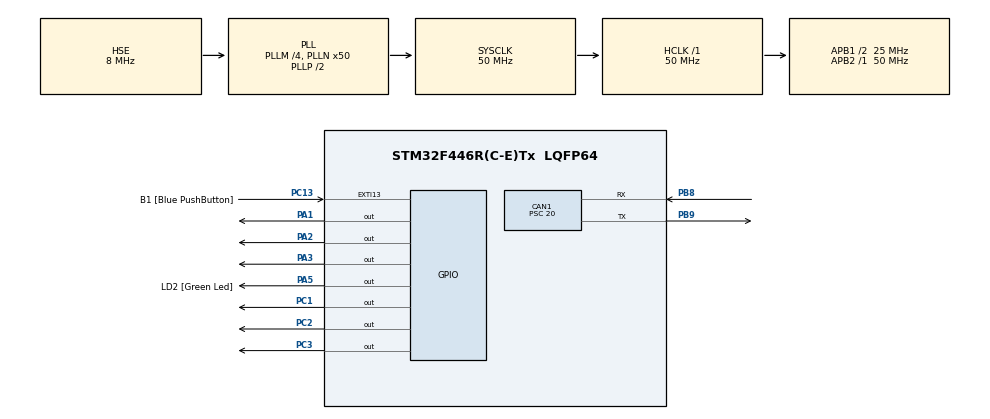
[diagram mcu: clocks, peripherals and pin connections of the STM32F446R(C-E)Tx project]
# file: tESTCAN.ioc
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CAN1.ABOM=DISABLE
CAN1.BS1=CAN_BS1_8TQ
CAN1.CalculateBaudRate=125000
CAN1.CalculateTimeBit=8000.00
CAN1.CalculateTimeQuantum=800.0
CAN1.Mode=CAN_MODE_LOOPBACK
CAN1.NART=DISABLE
CAN1.Prescaler=20
CAN1.TTCM=DISABLE
Mcu.Family=STM32F4
Mcu.Name=STM32F446R(C-E)Tx
Mcu.Package=LQFP64
NVIC.PriorityGroup=NVIC_PRIORITYGROUP_0
PA1.GPIO_ModeDefaultOutputPP=GPIO_MODE_OUTPUT_PP
PA1.GPIO_PuPd=GPIO_PULLUP
PA1.Signal=GPIO_Output
PA13.GPIO_Label=TMS
PA13.Mode=Serial_Wire
PA13.Signal=SYS_JTMS-SWDIO
PA14.GPIO_Label=TCK
PA14.Mode=Serial_Wire
PA14.Signal=SYS_JTCK-SWCLK
PA2.PinState=GPIO_PIN_SET
PA2.Signal=GPIO_Output
PA3.PinState=GPIO_PIN_SET
PA3.Signal=GPIO_Output
PA5.GPIO_Label=LD2 [Green Led]
PA5.Signal=GPIO_Output
PB3.GPIO_Label=SWO
PB3.Signal=SYS_JTDO-SWO
PB8.Mode=CAN_Activate
PB8.Signal=CAN1_RX
PB9.Mode=CAN_Activate
PB9.Signal=CAN1_TX
PC1.PinState=GPIO_PIN_SET
PC1.Signal=GPIO_Output
PC13.GPIO_Label=B1 [Blue PushButton]
PC13.GPIO_ModeDefaultEXTI=GPIO_MODE_IT_FALLING
PC13.Signal=GPXTI13
PC14-OSC32_IN.Mode=LSE-External-Oscillator
PC14-OSC32_IN.Signal=RCC_OSC32_IN
PC15-OSC32_OUT.Mode=LSE-External-Oscillator
PC15-OSC32_OUT.Signal=RCC_OSC32_OUT
PC2.PinState=GPIO_PIN_SET
PC2.Signal=GPIO_Output
PC3.PinState=GPIO_PIN_SET
PC3.Signal=GPIO_Output
PH0-OSC_IN.Mode=HSE-External-Oscillator
PH0-OSC_IN.Signal=RCC_OSC_IN
PH1-OSC_OUT.Mode=HSE-External-Oscillator
PH1-OSC_OUT.Signal=RCC_OSC_OUT
ProjectManager.HeapSize=0x200
ProjectManager.StackSize=0x400
ProjectManager.TargetToolchain=MDK-ARM V5.27
RCC.48MHZClocksFreq_Value=84000000
RCC.AHBFreq_Value=50000000
RCC.APB1CLKDivider=RCC_HCLK_DIV2
RCC.APB1Freq_Value=25000000
RCC.APB1TimFreq_Value=50000000
RCC.APB2Freq_Value=50000000
RCC.APB2TimFreq_Value=50000000
RCC.CortexFreq_Value=50000000
RCC.FLatency-AdvancedSettings=FLASH_LATENCY_1
RCC.HCLKFreq_Value=50000000
RCC.HSE_VALUE=8000000
RCC.HSI_VALUE=16000000
RCC.PLLM=4
RCC.PLLN=50
RCC.PLLSourceVirtual=RCC_PLLSOURCE_HSE
RCC.SYSCLKFreq_VALUE=50000000
RCC.SYSCLKSource=RCC_SYSCLKSOURCE_PLLCLK
RCC.USBFreq_Value=50000000
RCC.VCOOutputFreq_Value=100000000
board=NUCLEO-F446RE

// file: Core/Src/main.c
/* USER CODE BEGIN Header */
/**
  ******************************************************************************
  * @file           : main.c
  * @brief          : Main program body
  ******************************************************************************
  * @attention
  *
  * <h2><center>&copy; Copyright (c) 2021 STMicroelectronics.
  * All rights reserved.</center></h2>
  *
  * This software component is licensed by ST under BSD 3-Clause license,
  * the "License"; You may not use this file except in compliance with the
  * License. You may obtain a copy of the License at:
  *                        opensource.org/licenses/BSD-3-Clause
  *
  ******************************************************************************
  */
/* USER CODE END Header */
#include "main.h"

CAN_HandleTypeDef hcan1;

void SystemClock_Config(void);
static void MX_GPIO_Init(void);
static void MX_CAN1_Init(void);

/* USER CODE BEGIN 0 */
void CAN_TX(void)
{
	CAN_TxHeaderTypeDef Txmsg;
	uint32_t Mailbox;
	uint8_t Data[6] = {'F' , 'S' , 'U' , 'K' , '2' , '2'};
	Txmsg.StdId = 0x111;
	Txmsg.DLC = 6;
	Txmsg.IDE = CAN_ID_STD;
	Txmsg.ExtId = 0;
	Txmsg.RTR = CAN_RTR_DATA;
	Txmsg.TransmitGlobalTime = DISABLE;

	HAL_CAN_AddTxMessage(&hcan1,&Txmsg,Data,&Mailbox);

	while(HAL_CAN_IsTxMessagePending(&hcan1 , Mailbox));

}

void CAN_Filter_Config(void)
{
	CAN_FilterTypeDef can1_filter_init;

	can1_filter_init.FilterActivation = ENABLE;
	can1_filter_init.FilterBank  = 0;
	can1_filter_init.FilterFIFOAssignment = CAN_RX_FIFO0;
	can1_filter_init.FilterIdHigh = 0x0000;
	can1_filter_init.FilterIdLow = 0x0000;
	can1_filter_init.FilterMaskIdHigh = 0x0000;
	can1_filter_init.FilterMaskIdLow = 0x0000;
	can1_filter_init.FilterMode = CAN_FILTERMODE_IDMASK;
	can1_filter_init.FilterScale = CAN_FILTERSCALE_32BIT;

	if( HAL_CAN_ConfigFilter(&hcan1,&can1_filter_init) != HAL_OK)
	{

	}

}

void CAN_RX(void)
{

	CAN_RxHeaderTypeDef RxHeader;
	uint8_t rcvd_msg[5];

	char msg[50];

	//we are waiting for at least one message in to the RX FIFO0
	while(! HAL_CAN_GetRxFifoFillLevel(&hcan1,CAN_RX_FIFO0));

	if(HAL_CAN_GetRxMessage(&hcan1,CAN_RX_FIFO0,&RxHeader,rcvd_msg) != HAL_OK)
	{

	}

	sprintf(msg,"Message Received : %s\r\n",rcvd_msg);

//	HAL_UART_Transmit(&huart2,(uint8_t*)msg,strlen(msg),HAL_MAX_DELAY);

}
/* USER CODE END 0 */

int main(void)
{

  /* MCU Configuration--------------------------------------------------------*/

  /* Reset of all peripherals, Initializes the Flash interface and the Systick. */
  HAL_Init();

  /* Configure the system clock */
  SystemClock_Config();

  /* Initialize all configured peripherals */
  MX_GPIO_Init();
  MX_CAN1_Init();

  /* Infinite loop */
  /* USER CODE BEGIN WHILE */
  while (1)
  {

//		HAL_GPIO_WritePin(GPIOC,GPIO_PIN_3 , GPIO_PIN_SET);
		HAL_GPIO_WritePin(GPIOA,GPIO_PIN_1 , GPIO_PIN_SET);
//		HAL_GPIO_WritePin(GPIOC,GPIO_PIN_2 , GPIO_PIN_SET);
    /* USER CODE END WHILE */

  }
}

void SystemClock_Config(void)
{
  RCC_OscInitTypeDef RCC_OscInitStruct = {0};
  RCC_ClkInitTypeDef RCC_ClkInitStruct = {0};

  /** Configure the main internal regulator output voltage
  */
  __HAL_RCC_PWR_CLK_ENABLE();
  __HAL_PWR_VOLTAGESCALING_CONFIG(PWR_REGULATOR_VOLTAGE_SCALE3);
  /** Initializes the RCC Oscillators according to the specified parameters
  * in the RCC_OscInitTypeDef structure.
  */
  RCC_OscInitStruct.OscillatorType = RCC_OSCILLATORTYPE_HSE;
  RCC_OscInitStruct.HSEState = RCC_HSE_ON;
  RCC_OscInitStruct.PLL.PLLState = RCC_PLL_ON;
  RCC_OscInitStruct.PLL.PLLSource = RCC_PLLSOURCE_HSE;
  RCC_OscInitStruct.PLL.PLLM = 4;
  RCC_OscInitStruct.PLL.PLLN = 50;
  RCC_OscInitStruct.PLL.PLLP = RCC_PLLP_DIV2;
  RCC_OscInitStruct.PLL.PLLQ = 2;
  RCC_OscInitStruct.PLL.PLLR = 2;
  if (HAL_RCC_OscConfig(&RCC_OscInitStruct) != HAL_OK)
  {
    Error_Handler();
  }
  /** Initializes the CPU, AHB and APB buses clocks
  */
  RCC_ClkInitStruct.ClockType = RCC_CLOCKTYPE_HCLK|RCC_CLOCKTYPE_SYSCLK
                              |RCC_CLOCKTYPE_PCLK1|RCC_CLOCKTYPE_PCLK2;
  RCC_ClkInitStruct.SYSCLKSource = RCC_SYSCLKSOURCE_PLLCLK;
  RCC_ClkInitStruct.AHBCLKDivider = RCC_SYSCLK_DIV1;
  RCC_ClkInitStruct.APB1CLKDivider = RCC_HCLK_DIV2;
  RCC_ClkInitStruct.APB2CLKDivider = RCC_HCLK_DIV1;

  if (HAL_RCC_ClockConfig(&RCC_ClkInitStruct, FLASH_LATENCY_1) != HAL_OK)
  {
    Error_Handler();
  }
}

static void MX_CAN1_Init(void)
{

  hcan1.Instance = CAN1;
  hcan1.Init.Prescaler = 20;
  hcan1.Init.Mode = CAN_MODE_LOOPBACK;
  hcan1.Init.SyncJumpWidth = CAN_SJW_1TQ;
  hcan1.Init.TimeSeg1 = CAN_BS1_8TQ;
  hcan1.Init.TimeSeg2 = CAN_BS2_1TQ;
  hcan1.Init.TimeTriggeredMode = DISABLE;
  hcan1.Init.AutoBusOff = DISABLE;
  hcan1.Init.AutoWakeUp = DISABLE;
  hcan1.Init.AutoRetransmission = DISABLE;
  hcan1.Init.ReceiveFifoLocked = DISABLE;
  hcan1.Init.TransmitFifoPriority = DISABLE;
  if (HAL_CAN_Init(&hcan1) != HAL_OK)
  {
    Error_Handler();
  }

}

static void MX_GPIO_Init(void)
{
  GPIO_InitTypeDef GPIO_InitStruct = {0};

  /* GPIO Ports Clock Enable */
  __HAL_RCC_GPIOC_CLK_ENABLE();
  __HAL_RCC_GPIOH_CLK_ENABLE();
  __HAL_RCC_GPIOA_CLK_ENABLE();
  __HAL_RCC_GPIOB_CLK_ENABLE();

  /*Configure GPIO pin Output Level */
  HAL_GPIO_WritePin(GPIOC, GPIO_PIN_1|GPIO_PIN_2|GPIO_PIN_3, GPIO_PIN_SET);

  /*Configure GPIO pin Output Level */
  HAL_GPIO_WritePin(GPIOA, GPIO_PIN_1|LD2_Pin, GPIO_PIN_RESET);

  /*Configure GPIO pin Output Level */
  HAL_GPIO_WritePin(GPIOA, GPIO_PIN_2|GPIO_PIN_3, GPIO_PIN_SET);

  /*Configure GPIO pin : B1_Pin */
  GPIO_InitStruct.Pin = B1_Pin;
  GPIO_InitStruct.Mode = GPIO_MODE_IT_FALLING;
  GPIO_InitStruct.Pull = GPIO_NOPULL;
  HAL_GPIO_Init(B1_GPIO_Port, &GPIO_InitStruct);

  /*Configure GPIO pins : PC1 PC2 PC3 */
  GPIO_InitStruct.Pin = GPIO_PIN_1|GPIO_PIN_2|GPIO_PIN_3;
  GPIO_InitStruct.Mode = GPIO_MODE_OUTPUT_PP;
  GPIO_InitStruct.Pull = GPIO_NOPULL;
  GPIO_InitStruct.Speed = GPIO_SPEED_FREQ_LOW;
  HAL_GPIO_Init(GPIOC, &GPIO_InitStruct);

  /*Configure GPIO pin : PA1 */
  GPIO_InitStruct.Pin = GPIO_PIN_1;
  GPIO_InitStruct.Mode = GPIO_MODE_OUTPUT_PP;
  GPIO_InitStruct.Pull = GPIO_PULLUP;
  GPIO_InitStruct.Speed = GPIO_SPEED_FREQ_LOW;
  HAL_GPIO_Init(GPIOA, &GPIO_InitStruct);

  /*Configure GPIO pins : PA2 PA3 LD2_Pin */
  GPIO_InitStruct.Pin = GPIO_PIN_2|GPIO_PIN_3|LD2_Pin;
  GPIO_InitStruct.Mode = GPIO_MODE_OUTPUT_PP;
  GPIO_InitStruct.Pull = GPIO_NOPULL;
  GPIO_InitStruct.Speed = GPIO_SPEED_FREQ_LOW;
  HAL_GPIO_Init(GPIOA, &GPIO_InitStruct);

}

void Error_Handler(void)
{
  __disable_irq();
  while (1)
  {
  }
}

/************************ (C) COPYRIGHT STMicroelectronics *****END OF FILE****/
